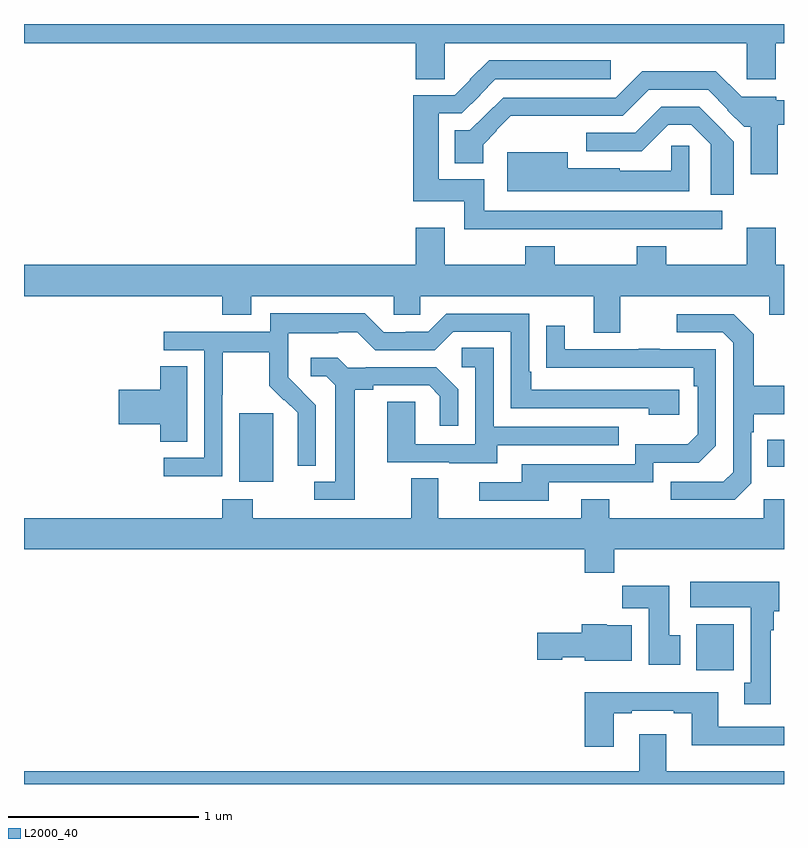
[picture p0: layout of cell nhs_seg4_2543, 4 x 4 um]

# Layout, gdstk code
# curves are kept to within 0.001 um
import gdstk
lib = gdstk.Library(unit=1e-6, precision=1e-09)
def R(c, l, rs):  # rectangles x0, y0, x1, y1
    for r in rs: c.add(gdstk.rectangle(r[:2], r[2:], *l))
def P(c, l, *ps):  # polygons
    for p in ps: c.add(gdstk.Polygon(p, *l))
L2000_40 = (2000, 40)

nhs_seg4_2543 = lib.new_cell('nhs_seg4_2543')
R(nhs_seg4_2543, L2000_40, [(246.539,813.5,246.736,813.742), (244.133,814.49,244.312,814.851), (246.913,814.571,247,814.711)])
P(nhs_seg4_2543, L2000_40, [(246.956,816.8),(247,816.8),(247,816.9),(243,816.9),(243,816.8),(245.063,816.8),(245.063,816.61),(245.214,816.61),(245.214,816.8),(246.805,816.8),(246.805,816.609),(246.956,816.609)],
  [(245.549,815.82),(246.676,815.82),(246.676,815.916),(245.422,815.916),(245.422,816.082),(245.182,816.082),(245.182,816.429),(245.305,816.429),(245.402,816.526),(245.4,816.528),(245.481,816.609),(246.088,816.609),(246.088,816.709),(245.448,816.709),(245.347,816.608),(245.349,816.606),(245.268,816.525),(245.048,816.525),(245.048,815.966),(245.318,815.966),(245.318,815.819)],
  [(246.966,816.37),(247,816.37),(247,816.499),(246.958,816.499),(246.958,816.516),(246.777,816.516),(246.641,816.652),(246.253,816.652),(246.114,816.513),(245.522,816.513),(245.347,816.34),(245.267,816.34),(245.267,816.168),(245.416,816.168),(245.416,816.265),(245.489,816.338),(245.486,816.341),(245.561,816.416),(246.15,816.417),(246.288,816.555),(246.6,816.555),(246.705,816.45),(246.702,816.447),(246.79,816.36),(246.824,816.36),(246.824,816.108),(246.966,816.108)],
  [(246.736,816.281),(246.553,816.465),(246.354,816.465),(246.216,816.327),(245.958,816.327),(245.958,816.231),(246.252,816.231),(246.39,816.369),(246.513,816.369),(246.615,816.268),(246.615,816.001),(246.736,816.001)],
  [(246.5,816.259),(246.406,816.259),(246.406,816.127),(246.135,816.127),(246.135,816.142),(245.863,816.142),(245.863,816.226),(245.544,816.226),(245.544,816.02),(246.5,816.02)],
  [(246.139,815.468),(246.923,815.468),(246.923,815.369),(247,815.369),(247,815.632),(246.956,815.632),(246.956,815.827),(246.803,815.827),(246.803,815.632),(246.381,815.632),(246.381,815.731),(246.226,815.731),(246.226,815.632),(245.793,815.632),(245.793,815.731),(245.638,815.731),(245.638,815.632),(245.215,815.632),(245.215,815.827),(245.063,815.827),(245.063,815.632),(243,815.632),(243,815.468),(244.043,815.468),(244.043,815.369),(244.195,815.369),(244.195,815.468),(244.947,815.468),(244.947,815.37),(245.085,815.37),(245.085,815.468),(245.999,815.468),(245.999,815.274),(246.139,815.274)],
  [(244.044,814.948),(244.047,814.948),(244.047,815.172),(244.291,815.172),(244.291,814.997),(244.368,814.92),(244.371,814.923),(244.442,814.853),(244.442,814.73),(244.44,814.73),(244.44,814.576),(244.536,814.576),(244.536,814.894),(244.39,815.042),(244.39,815.139),(244.392,815.139),(244.392,815.273),(244.655,815.273),(244.655,815.277),(244.755,815.277),(244.848,815.184),(245.163,815.184),(245.259,815.28),(245.562,815.28),(245.562,814.878),(246.287,814.878),(246.287,814.844),(246.448,814.844),(246.448,814.974),(245.671,814.974),(245.671,815.071),(245.658,815.071),(245.658,815.376),(245.223,815.376),(245.127,815.28),(245.009,815.28),(245.009,815.277),(244.893,815.277),(244.793,815.377),(244.296,815.377),(244.296,815.28),(243.735,815.28),(243.735,815.184),(243.948,815.184),(243.948,814.617),(243.735,814.617),(243.735,814.519),(244.044,814.519)],
  [(246.828,814.482),(246.828,814.751),(246.841,814.751),(246.841,814.847),(247,814.847),(247,814.995),(246.841,814.995),(246.841,815.267),(246.735,815.373),(246.435,815.373),(246.435,815.277),(246.678,815.277),(246.732,815.223),(246.732,814.542),(246.681,814.491),(246.405,814.491),(246.405,814.395),(246.741,814.395)],
  [(245.761,814.488),(246.312,814.488),(246.312,814.59),(246.552,814.59),(246.642,814.68),(246.642,815.187),(246.347,815.187),(246.347,815.192),(246.235,815.192),(246.235,815.187),(245.845,815.187),(245.845,815.311),(245.749,815.311),(245.749,815.092),(246.526,815.091),(246.526,814.994),(246.546,814.994),(246.546,814.74),(246.493,814.687),(246.216,814.687),(246.216,814.584),(245.621,814.584),(245.621,814.488),(245.397,814.488),(245.397,814.392),(245.761,814.392)],
  [(245.491,814.683),(246.131,814.683),(246.131,814.779),(245.472,814.779),(245.472,815.195),(245.304,815.195),(245.304,815.094),(245.376,815.094),(245.376,814.689),(245.058,814.689),(245.058,814.913),(244.913,814.913),(244.913,814.593),(245.237,814.593),(245.237,814.589),(245.491,814.589)],
  [(244.741,814.976),(244.837,814.976),(244.837,814.998),(245.132,814.998),(245.189,814.941),(245.189,814.785),(245.286,814.785),(245.286,814.978),(245.17,815.094),(244.798,815.094),(244.798,815.091),(244.704,815.091),(244.652,815.143),(244.509,815.143),(244.509,815.046),(244.59,815.046),(244.637,814.999),(244.637,814.491),(244.527,814.491),(244.527,814.395),(244.741,814.395)],
  [(243.859,815.099),(243.716,815.099),(243.716,814.976),(243.498,814.976),(243.498,814.793),(243.716,814.793),(243.716,814.702),(243.859,814.702)],
  [(245.933,814.399),(245.933,814.3),(245.179,814.3),(245.179,814.508),(245.039,814.508),(245.039,814.3),(244.203,814.3),(244.203,814.399),(244.043,814.399),(244.043,814.3),(243,814.3),(243,814.136),(245.951,814.136),(245.951,814.012),(246.107,814.012),(246.107,814.136),(247,814.136),(247,814.399),(246.894,814.399),(246.894,814.3),(246.081,814.3),(246.081,814.399)],
  [(246.931,813.71),(246.946,813.71),(246.946,813.81),(246.976,813.81),(246.976,813.964),(246.507,813.964),(246.507,813.83),(246.824,813.83),(246.824,813.434),(246.791,813.434),(246.791,813.321),(246.931,813.321)],
  [(246.454,813.684),(246.397,813.684),(246.397,813.943),(246.148,813.943),(246.148,813.824),(246.287,813.824),(246.287,813.528),(246.454,813.528)],
  [(246.199,813.736),(246.066,813.736),(246.066,813.742),(245.936,813.742),(245.936,813.696),(245.7,813.696),(245.7,813.554),(245.832,813.554),(245.832,813.566),(245.952,813.566),(245.952,813.548),(246.199,813.548)],
  [(246.103,813.273),(246.199,813.273),(246.199,813.285),(246.419,813.285),(246.419,813.273),(246.515,813.273),(246.515,813.104),(247,813.104),(247,813.201),(246.655,813.201),(246.655,813.382),(245.951,813.382),(245.951,813.096),(246.103,813.096)],
  [(247,812.968),(246.379,812.968),(246.379,813.163),(246.239,813.163),(246.239,812.968),(243,812.968),(243,812.9),(247,812.9)])

lib.write_gds('nhs_seg4_2543.gds')
